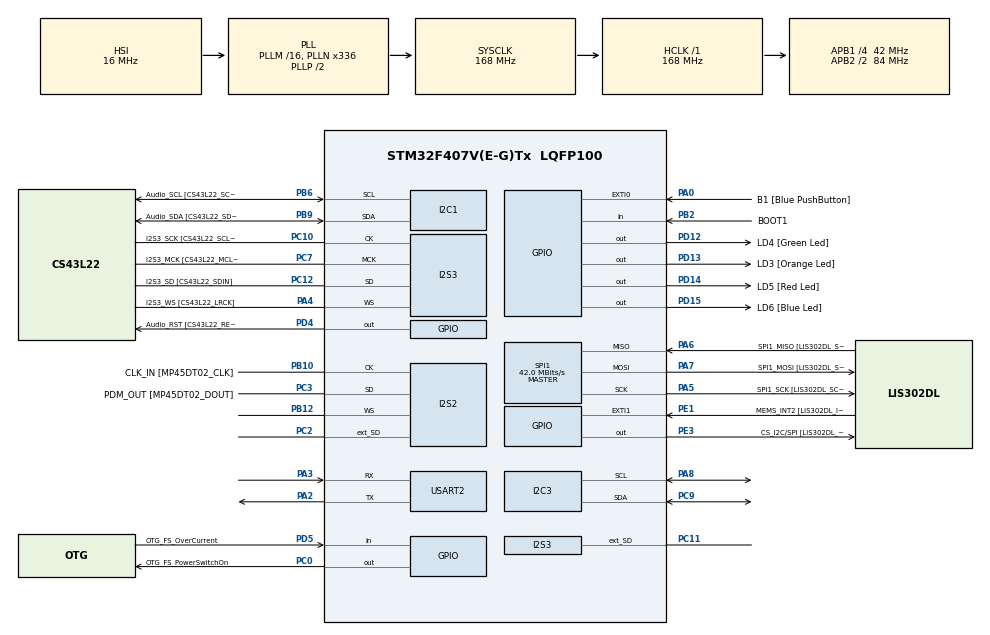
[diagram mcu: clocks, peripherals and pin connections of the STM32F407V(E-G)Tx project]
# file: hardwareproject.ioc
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Dma.Request0=SPI2_RX
Dma.Request1=SPI3_TX
Dma.SPI2_RX.0.Direction=DMA_PERIPH_TO_MEMORY
Dma.SPI2_RX.0.FIFOMode=DMA_FIFOMODE_ENABLE
Dma.SPI2_RX.0.FIFOThreshold=DMA_FIFO_THRESHOLD_FULL
Dma.SPI2_RX.0.Instance=DMA1_Stream3
Dma.SPI2_RX.0.MemBurst=DMA_MBURST_SINGLE
Dma.SPI2_RX.0.MemDataAlignment=DMA_MDATAALIGN_HALFWORD
Dma.SPI2_RX.0.MemInc=DMA_MINC_ENABLE
Dma.SPI2_RX.0.Mode=DMA_NORMAL
Dma.SPI2_RX.0.PeriphBurst=DMA_PBURST_SINGLE
Dma.SPI2_RX.0.PeriphDataAlignment=DMA_PDATAALIGN_HALFWORD
Dma.SPI2_RX.0.PeriphInc=DMA_PINC_DISABLE
Dma.SPI2_RX.0.Priority=DMA_PRIORITY_LOW
Dma.SPI3_TX.1.Direction=DMA_MEMORY_TO_PERIPH
Dma.SPI3_TX.1.FIFOMode=DMA_FIFOMODE_ENABLE
Dma.SPI3_TX.1.FIFOThreshold=DMA_FIFO_THRESHOLD_FULL
Dma.SPI3_TX.1.Instance=DMA1_Stream5
Dma.SPI3_TX.1.MemBurst=DMA_MBURST_INC8
Dma.SPI3_TX.1.MemDataAlignment=DMA_MDATAALIGN_HALFWORD
Dma.SPI3_TX.1.MemInc=DMA_MINC_ENABLE
Dma.SPI3_TX.1.Mode=DMA_NORMAL
Dma.SPI3_TX.1.PeriphBurst=DMA_PBURST_SINGLE
Dma.SPI3_TX.1.PeriphDataAlignment=DMA_PDATAALIGN_HALFWORD
Dma.SPI3_TX.1.PeriphInc=DMA_PINC_DISABLE
Dma.SPI3_TX.1.Priority=DMA_PRIORITY_LOW
I2S2.AudioFreq=I2S_AUDIOFREQ_32K
I2S2.ErrorAudioFreq=-0.01 %
I2S2.FullDuplexMode=I2S_FULLDUPLEXMODE_ENABLE
I2S2.Mode=I2S_MODE_MASTER_RX
I2S2.RealAudioFreq=31.994 KHz
I2S2.Standard=I2S_STANDARD_LSB
I2S3.AudioFreq=I2S_AUDIOFREQ_16K
I2S3.ErrorAudioFreq=-0.01 %
I2S3.FullDuplexMode=I2S_FULLDUPLEXMODE_ENABLE
I2S3.RealAudioFreq=15.997 KHz
I2S3.Standard=I2S_STANDARD_MSB
Mcu.Family=STM32F4
Mcu.Name=STM32F407V(E-G)Tx
Mcu.Package=LQFP100
NVIC.DMA1_Stream3_IRQn=true\:0\:0\:false\:false\:true
NVIC.DMA1_Stream5_IRQn=true\:0\:0\:false\:false\:true
NVIC.PriorityGroup=NVIC_PRIORITYGROUP_0
NVIC.SPI2_IRQn=true\:0\:0\:false\:false\:true
NVIC.USART2_IRQn=true\:0\:0\:false\:false\:true
PA0-WKUP.GPIO_Label=B1 [Blue PushButton]
PA0-WKUP.Signal=GPXTI0
PA10.GPIO_Label=OTG_FS_ID
PA10.GPIO_Mode=GPIO_MODE_AF_PP
PA10.GPIO_PuPd=GPIO_NOPULL
PA10.GPIO_Speed=GPIO_SPEED_FREQ_LOW
PA10.Signal=USB_OTG_FS_ID
PA11.GPIO_Label=OTG_FS_DM
PA11.GPIO_Mode=GPIO_MODE_AF_PP
PA11.GPIO_PuPd=GPIO_NOPULL
PA11.GPIO_Speed=GPIO_SPEED_FREQ_LOW
PA11.Signal=USB_OTG_FS_DM
PA12.GPIO_Label=OTG_FS_DP
PA12.GPIO_Mode=GPIO_MODE_AF_PP
PA12.GPIO_PuPd=GPIO_NOPULL
PA12.GPIO_Speed=GPIO_SPEED_FREQ_LOW
PA12.Signal=USB_OTG_FS_DP
PA13.GPIO_Label=SWDIO
PA13.Signal=SYS_JTMS-SWDIO
PA14.GPIO_Label=SWCLK
PA14.Signal=SYS_JTCK-SWCLK
PA2.Mode=Asynchronous
PA2.Signal=USART2_TX
PA3.Mode=Asynchronous
PA3.Signal=USART2_RX
PA4.GPIO_Label=I2S3_WS [CS43L22_LRCK]
PA4.GPIO_Mode=GPIO_MODE_AF_PP
PA4.GPIO_PuPd=GPIO_NOPULL
PA4.GPIO_Speed=GPIO_SPEED_FREQ_LOW
PA4.Mode=Full_Duplex_Master
PA4.Signal=I2S3_WS
PA5.GPIO_Label=SPI1_SCK [LIS302DL_SCL/SPC]
PA5.GPIO_Mode=GPIO_MODE_AF_PP
PA5.GPIO_PuPd=GPIO_NOPULL
PA5.GPIO_Speed=GPIO_SPEED_FREQ_LOW
PA5.Mode=Full_Duplex_Master
PA5.Signal=SPI1_SCK
PA6.GPIO_Label=SPI1_MISO [LIS302DL_SDO]
PA6.GPIO_Mode=GPIO_MODE_AF_PP
PA6.GPIO_PuPd=GPIO_NOPULL
PA6.GPIO_Speed=GPIO_SPEED_FREQ_LOW
PA6.Mode=Full_Duplex_Master
PA6.Signal=SPI1_MISO
PA7.GPIO_Label=SPI1_MOSI [LIS302DL_SDA/SDI/SDO]
PA7.GPIO_Mode=GPIO_MODE_AF_PP
PA7.GPIO_PuPd=GPIO_NOPULL
PA7.GPIO_Speed=GPIO_SPEED_FREQ_LOW
PA7.Mode=Full_Duplex_Master
PA7.Signal=SPI1_MOSI
PA8.Mode=I2C
PA8.Signal=I2C3_SCL
PA9.GPIO_Label=VBUS_FS
PA9.GPIO_Mode=GPIO_MODE_INPUT
PA9.GPIO_PuPd=GPIO_NOPULL
PA9.Signal=USB_OTG_FS_VBUS
PB10.GPIO_Label=CLK_IN [MP45DT02_CLK]
PB10.GPIO_Mode=GPIO_MODE_AF_PP
PB10.GPIO_PuPd=GPIO_NOPULL
PB10.GPIO_Speed=GPIO_SPEED_FREQ_LOW
PB10.Mode=Full_Duplex_Master
PB10.Signal=I2S2_CK
PB12.Mode=Full_Duplex_Master
PB12.Signal=I2S2_WS
PB2.GPIO_Label=BOOT1
PB2.GPIO_Mode=GPIO_MODE_INPUT
PB2.GPIO_PuPd=GPIO_NOPULL
PB2.Signal=GPIO_Input
PB3.GPIO_Label=SWO
PB3.Signal=SYS_JTDO-SWO
PB6.GPIO_Label=Audio_SCL [CS43L22_SCL]
PB6.GPIO_Mode=GPIO_MODE_AF_OD
PB6.GPIO_PuPd=GPIO_NOPULL
PB6.GPIO_Speed=GPIO_SPEED_FREQ_LOW
PB6.Mode=I2C
PB6.Signal=I2C1_SCL
PB9.GPIO_Label=Audio_SDA [CS43L22_SDA]
PB9.GPIO_Mode=GPIO_MODE_AF_OD
PB9.GPIO_PuPd=GPIO_NOPULL
PB9.GPIO_Speed=GPIO_SPEED_FREQ_LOW
PB9.Mode=I2C
PB9.Signal=I2C1_SDA
PC0.GPIO_Label=OTG_FS_PowerSwitchOn
PC0.GPIO_PuPd=GPIO_NOPULL
PC0.GPIO_Speed=GPIO_SPEED_FREQ_LOW
PC0.PinState=GPIO_PIN_SET
PC0.Signal=GPIO_Output
PC10.GPIO_Label=I2S3_SCK [CS43L22_SCLK]
PC10.GPIO_Mode=GPIO_MODE_AF_PP
PC10.GPIO_PuPd=GPIO_NOPULL
PC10.GPIO_Speed=GPIO_SPEED_FREQ_LOW
PC10.Mode=Full_Duplex_Master
PC10.Signal=I2S3_CK
PC11.Mode=Full_Duplex_Master
PC11.Signal=I2S3_ext_SD
PC12.GPIO_Label=I2S3_SD [CS43L22_SDIN]
PC12.GPIO_Mode=GPIO_MODE_AF_PP
PC12.GPIO_PuPd=GPIO_NOPULL
PC12.GPIO_Speed=GPIO_SPEED_FREQ_LOW
PC12.Mode=Full_Duplex_Master
PC12.Signal=I2S3_SD
PC14-OSC32_IN.GPIO_Label=PC14-OSC32_IN
PC14-OSC32_IN.Signal=RCC_OSC32_IN
PC15-OSC32_OUT.GPIO_Label=PC15-OSC32_OUT
PC15-OSC32_OUT.Signal=RCC_OSC32_OUT
PC2.Mode=Full_Duplex_Master
PC2.Signal=I2S2_ext_SD
PC3.GPIO_Label=PDM_OUT [MP45DT02_DOUT]
PC3.GPIO_Mode=GPIO_MODE_AF_PP
PC3.GPIO_PuPd=GPIO_NOPULL
PC3.GPIO_Speed=GPIO_SPEED_FREQ_LOW
PC3.Mode=Full_Duplex_Master
PC3.Signal=I2S2_SD
PC7.GPIO_Label=I2S3_MCK [CS43L22_MCLK]
PC7.GPIO_Mode=GPIO_MODE_AF_PP
PC7.GPIO_PuPd=GPIO_NOPULL
PC7.GPIO_Speed=GPIO_SPEED_FREQ_LOW
PC7.Mode=Master_Clock_Activated
PC7.Signal=I2S3_MCK
PC9.Mode=I2C
PC9.Signal=I2C3_SDA
PD12.GPIO_Label=LD4 [Green Led]
PD12.GPIO_PuPd=GPIO_NOPULL
PD12.GPIO_Speed=GPIO_SPEED_FREQ_LOW
PD12.Signal=GPIO_Output
PD13.GPIO_Label=LD3 [Orange Led]
PD13.GPIO_PuPd=GPIO_NOPULL
PD13.GPIO_Speed=GPIO_SPEED_FREQ_LOW
PD13.Signal=GPIO_Output
PD14.GPIO_Label=LD5 [Red Led]
PD14.GPIO_PuPd=GPIO_NOPULL
PD14.GPIO_Speed=GPIO_SPEED_FREQ_LOW
PD14.Signal=GPIO_Output
PD15.GPIO_Label=LD6 [Blue Led]
PD15.GPIO_PuPd=GPIO_NOPULL
PD15.GPIO_Speed=GPIO_SPEED_FREQ_LOW
PD15.Signal=GPIO_Output
PD4.GPIO_Label=Audio_RST [CS43L22_RESET]
PD4.GPIO_PuPd=GPIO_NOPULL
PD4.GPIO_Speed=GPIO_SPEED_FREQ_MEDIUM
PD4.Signal=GPIO_Output
PD5.GPIO_Label=OTG_FS_OverCurrent
PD5.GPIO_Mode=GPIO_MODE_INPUT
PD5.GPIO_PuPd=GPIO_NOPULL
PD5.Signal=GPIO_Input
PE1.GPIO_Label=MEMS_INT2 [LIS302DL_INT2]
PE1.GPIO_ModeDefaultEXTI=GPIO_MODE_EVT_RISING
PE1.GPIO_PuPd=GPIO_NOPULL
PE1.Signal=GPXTI1
PE3.GPIO_Label=CS_I2C/SPI [LIS302DL_CS_I2C/SPI]
PE3.GPIO_PuPd=GPIO_NOPULL
PE3.GPIO_Speed=GPIO_SPEED_FREQ_LOW
PE3.Signal=GPIO_Output
PH0-OSC_IN.GPIO_Label=PH0-OSC_IN
PH0-OSC_IN.Signal=RCC_OSC_IN
PH1-OSC_OUT.GPIO_Label=PH1-OSC_OUT
PH1-OSC_OUT.Signal=RCC_OSC_OUT
ProjectManager.HeapSize=0x200
ProjectManager.StackSize=0x400
ProjectManager.TargetToolchain=MDK-ARM V5
RCC.48MHZClocksFreq_Value=48000000
RCC.AHBFreq_Value=168000000
RCC.APB1CLKDivider=RCC_HCLK_DIV4
RCC.APB1Freq_Value=42000000
RCC.APB1TimFreq_Value=84000000
RCC.APB2CLKDivider=RCC_HCLK_DIV2
RCC.APB2Freq_Value=84000000
RCC.APB2TimFreq_Value=168000000
RCC.CortexFreq_Value=168000000
RCC.HCLKFreq_Value=168000000
RCC.HSE_VALUE=8000000
RCC.HSI_VALUE=16000000
RCC.LSE_VALUE=32768
RCC.PLLI2SN=258
RCC.PLLI2SR=3
RCC.PLLN=336
RCC.PLLQ=7
RCC.SYSCLKFreq_VALUE=168000000
RCC.SYSCLKSource=RCC_SYSCLKSOURCE_PLLCLK
RCC.VCOOutputFreq_Value=336000000
SPI1.CalculateBaudRate=42.0 MBits/s
SPI1.Mode=SPI_MODE_MASTER
VP_CRC_VS_CRC.Mode=CRC_Activate
board=STM32F407G-DISC1

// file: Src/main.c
/**
  ******************************************************************************
  * File Name          : main.c
  * Description        : Main program body
  ******************************************************************************
  *
  * COPYRIGHT(c) 2016 STMicroelectronics
  *
  * Redistribution and use in source and binary forms, with or without modification,
  * are permitted provided that the following conditions are met:
  *   1. Redistributions of source code must retain the above copyright notice,
  *      this list of conditions and the following disclaimer.
  *   2. Redistributions in binary form must reproduce the above copyright notice,
  *      this list of conditions and the following disclaimer in the documentation
  *      and/or other materials provided with the distribution.
  *   3. Neither the name of STMicroelectronics nor the names of its contributors
  *      may be used to endorse or promote products derived from this software
  *      without specific prior written permission.
  *
  * THIS SOFTWARE IS PROVIDED BY THE COPYRIGHT HOLDERS AND CONTRIBUTORS "AS IS"
  * AND ANY EXPRESS OR IMPLIED WARRANTIES, INCLUDING, BUT NOT LIMITED TO, THE
  * IMPLIED WARRANTIES OF MERCHANTABILITY AND FITNESS FOR A PARTICULAR PURPOSE ARE
  * DISCLAIMED. IN NO EVENT SHALL THE COPYRIGHT HOLDER OR CONTRIBUTORS BE LIABLE
  * FOR ANY DIRECT, INDIRECT, INCIDENTAL, SPECIAL, EXEMPLARY, OR CONSEQUENTIAL
  * DAMAGES (INCLUDING, BUT NOT LIMITED TO, PROCUREMENT OF SUBSTITUTE GOODS OR
  * SERVICES; LOSS OF USE, DATA, OR PROFITS; OR BUSINESS INTERRUPTION) HOWEVER
  * CAUSED AND ON ANY THEORY OF LIABILITY, WHETHER IN CONTRACT, STRICT LIABILITY,
  * OR TORT (INCLUDING NEGLIGENCE OR OTHERWISE) ARISING IN ANY WAY OUT OF THE USE
  * OF THIS SOFTWARE, EVEN IF ADVISED OF THE POSSIBILITY OF SUCH DAMAGE.
  *
  ******************************************************************************
  */
#include "main.h"
#include "stm32f4xx_hal.h"

/* USER CODE BEGIN Includes */
#include "pdm_filter.h"
#include <math.h>
#define LED_BLUE_ON   GPIOD->BSRRL = GPIO_Pin_15;
#define LED_BLUE_OFF  GPIOD->BSRRH = GPIO_Pin_15;

#define DAC_I2C_ADDR 0x94
#define FS 16000
#define PDM_BUFFER_SIZE 64 // 16000 / 1000 * 1 * 64 / 8 -> uint8_t[128] -> uint8_t[64]
#define PCM_BUFFER_SIZE 16 // 16000 / 1000 * 1
#define WR_BUFFER_SIZE 4096

#define PI 3.14159265f

/* USER CODE END Includes */

CRC_HandleTypeDef hcrc;

I2C_HandleTypeDef hi2c1;
I2C_HandleTypeDef hi2c3;

I2S_HandleTypeDef hi2s2;
I2S_HandleTypeDef hi2s3;
DMA_HandleTypeDef hdma_spi2_rx;
DMA_HandleTypeDef hdma_spi3_tx;

SPI_HandleTypeDef hspi1;

UART_HandleTypeDef huart2;

/* USER CODE BEGIN PV */
/* Private variables ---------------------------------------------------------*/
PDMFilter_InitStruct pdm_filter;
int i = 0, start, end;
uint16_t PDM_buffer[ PDM_BUFFER_SIZE ];
uint16_t PCM_buffer[ PCM_BUFFER_SIZE * 2 ];
uint16_t WR_buffer[ WR_BUFFER_SIZE ];
uint8_t str[20];
int len;
/* USER CODE END PV */

void SystemClock_Config(void);
void Error_Handler(void);
static void MX_GPIO_Init(void);
static void MX_DMA_Init(void);
static void MX_I2C1_Init(void);
static void MX_I2C3_Init(void);
static void MX_I2S2_Init(void);
static void MX_I2S3_Init(void);
static void MX_SPI1_Init(void);
static void MX_USART2_UART_Init(void);
static void MX_CRC_Init(void);

/* USER CODE BEGIN PFP */
static void MP45DT02_Init(void);
/* USER CODE END PFP */

int main(void)
{

  /* USER CODE BEGIN 1 */
	int j = 0;
  /* USER CODE END 1 */

  /* MCU Configuration----------------------------------------------------------*/

  /* Reset of all peripherals, Initializes the Flash interface and the Systick. */
  HAL_Init();

  /* Configure the system clock */
  SystemClock_Config();

  /* Initialize all configured peripherals */
  MX_GPIO_Init();
  MX_DMA_Init();
  MX_I2C1_Init();
  MX_I2C3_Init();
  MX_I2S2_Init();
  MX_I2S3_Init();
  MX_SPI1_Init();
  MX_USART2_UART_Init();
  MX_CRC_Init();

  /* USER CODE BEGIN 2 */
  MP45DT02_Init();

	HAL_I2S_Receive_DMA(&hi2s2, PDM_buffer, PDM_BUFFER_SIZE);
  /* USER CODE END 2 */

  /* Infinite loop */
  while (1)
  {

  /* USER CODE BEGIN 3 */
		if (start != end) {
			len = sprintf(str, "%d\n\r", WR_buffer[start]);
			HAL_UART_Transmit(&huart2, str, len, 10);
			start = (start+1) % WR_BUFFER_SIZE;
			HAL_Delay(10);
		}
  }
  /* USER CODE END 3 */

}

/** System Clock Configuration
*/
void SystemClock_Config(void)
{

  RCC_OscInitTypeDef RCC_OscInitStruct;
  RCC_ClkInitTypeDef RCC_ClkInitStruct;
  RCC_PeriphCLKInitTypeDef PeriphClkInitStruct;

    /**Configure the main internal regulator output voltage
    */
  __HAL_RCC_PWR_CLK_ENABLE();

  __HAL_PWR_VOLTAGESCALING_CONFIG(PWR_REGULATOR_VOLTAGE_SCALE1);

    /**Initializes the CPU, AHB and APB busses clocks
    */
  RCC_OscInitStruct.OscillatorType = RCC_OSCILLATORTYPE_HSI;
  RCC_OscInitStruct.HSIState = RCC_HSI_ON;
  RCC_OscInitStruct.HSICalibrationValue = 16;
  RCC_OscInitStruct.PLL.PLLState = RCC_PLL_ON;
  RCC_OscInitStruct.PLL.PLLSource = RCC_PLLSOURCE_HSI;
  RCC_OscInitStruct.PLL.PLLM = 16;
  RCC_OscInitStruct.PLL.PLLN = 336;
  RCC_OscInitStruct.PLL.PLLP = RCC_PLLP_DIV2;
  RCC_OscInitStruct.PLL.PLLQ = 7;
  if (HAL_RCC_OscConfig(&RCC_OscInitStruct) != HAL_OK)
  {
    Error_Handler();
  }

    /**Initializes the CPU, AHB and APB busses clocks
    */
  RCC_ClkInitStruct.ClockType = RCC_CLOCKTYPE_HCLK|RCC_CLOCKTYPE_SYSCLK
                              |RCC_CLOCKTYPE_PCLK1|RCC_CLOCKTYPE_PCLK2;
  RCC_ClkInitStruct.SYSCLKSource = RCC_SYSCLKSOURCE_PLLCLK;
  RCC_ClkInitStruct.AHBCLKDivider = RCC_SYSCLK_DIV1;
  RCC_ClkInitStruct.APB1CLKDivider = RCC_HCLK_DIV4;
  RCC_ClkInitStruct.APB2CLKDivider = RCC_HCLK_DIV2;

  if (HAL_RCC_ClockConfig(&RCC_ClkInitStruct, FLASH_LATENCY_5) != HAL_OK)
  {
    Error_Handler();
  }

  PeriphClkInitStruct.PeriphClockSelection = RCC_PERIPHCLK_I2S;
  PeriphClkInitStruct.PLLI2S.PLLI2SN = 258;
  PeriphClkInitStruct.PLLI2S.PLLI2SR = 3;
  if (HAL_RCCEx_PeriphCLKConfig(&PeriphClkInitStruct) != HAL_OK)
  {
    Error_Handler();
  }

    /**Configure the Systick interrupt time
    */
  HAL_SYSTICK_Config(HAL_RCC_GetHCLKFreq()/1000);

    /**Configure the Systick
    */
  HAL_SYSTICK_CLKSourceConfig(SYSTICK_CLKSOURCE_HCLK);

  /* SysTick_IRQn interrupt configuration */
  HAL_NVIC_SetPriority(SysTick_IRQn, 0, 0);
}

/* CRC init function */
static void MX_CRC_Init(void)
{

  hcrc.Instance = CRC;
  if (HAL_CRC_Init(&hcrc) != HAL_OK)
  {
    Error_Handler();
  }

}

/* I2C1 init function */
static void MX_I2C1_Init(void)
{

  hi2c1.Instance = I2C1;
  hi2c1.Init.ClockSpeed = 100000;
  hi2c1.Init.DutyCycle = I2C_DUTYCYCLE_2;
  hi2c1.Init.OwnAddress1 = 0;
  hi2c1.Init.AddressingMode = I2C_ADDRESSINGMODE_7BIT;
  hi2c1.Init.DualAddressMode = I2C_DUALADDRESS_DISABLE;
  hi2c1.Init.OwnAddress2 = 0;
  hi2c1.Init.GeneralCallMode = I2C_GENERALCALL_DISABLE;
  hi2c1.Init.NoStretchMode = I2C_NOSTRETCH_DISABLE;
  if (HAL_I2C_Init(&hi2c1) != HAL_OK)
  {
    Error_Handler();
  }

}

/* I2C3 init function */
static void MX_I2C3_Init(void)
{

  hi2c3.Instance = I2C3;
  hi2c3.Init.ClockSpeed = 100000;
  hi2c3.Init.DutyCycle = I2C_DUTYCYCLE_2;
  hi2c3.Init.OwnAddress1 = 0;
  hi2c3.Init.AddressingMode = I2C_ADDRESSINGMODE_7BIT;
  hi2c3.Init.DualAddressMode = I2C_DUALADDRESS_DISABLE;
  hi2c3.Init.OwnAddress2 = 0;
  hi2c3.Init.GeneralCallMode = I2C_GENERALCALL_DISABLE;
  hi2c3.Init.NoStretchMode = I2C_NOSTRETCH_DISABLE;
  if (HAL_I2C_Init(&hi2c3) != HAL_OK)
  {
    Error_Handler();
  }

}

/* I2S2 init function */
static void MX_I2S2_Init(void)
{

  hi2s2.Instance = SPI2;
  hi2s2.Init.Mode = I2S_MODE_MASTER_RX;
  hi2s2.Init.Standard = I2S_STANDARD_LSB;
  hi2s2.Init.DataFormat = I2S_DATAFORMAT_16B;
  hi2s2.Init.MCLKOutput = I2S_MCLKOUTPUT_DISABLE;
  hi2s2.Init.AudioFreq = I2S_AUDIOFREQ_32K;
  hi2s2.Init.CPOL = I2S_CPOL_LOW;
  hi2s2.Init.ClockSource = I2S_CLOCK_PLL;
  hi2s2.Init.FullDuplexMode = I2S_FULLDUPLEXMODE_ENABLE;
  if (HAL_I2S_Init(&hi2s2) != HAL_OK)
  {
    Error_Handler();
  }

}

/* I2S3 init function */
static void MX_I2S3_Init(void)
{

  hi2s3.Instance = SPI3;
  hi2s3.Init.Mode = I2S_MODE_MASTER_TX;
  hi2s3.Init.Standard = I2S_STANDARD_MSB;
  hi2s3.Init.DataFormat = I2S_DATAFORMAT_16B;
  hi2s3.Init.MCLKOutput = I2S_MCLKOUTPUT_ENABLE;
  hi2s3.Init.AudioFreq = I2S_AUDIOFREQ_16K;
  hi2s3.Init.CPOL = I2S_CPOL_LOW;
  hi2s3.Init.ClockSource = I2S_CLOCK_PLL;
  hi2s3.Init.FullDuplexMode = I2S_FULLDUPLEXMODE_ENABLE;
  if (HAL_I2S_Init(&hi2s3) != HAL_OK)
  {
    Error_Handler();
  }

}

/* SPI1 init function */
static void MX_SPI1_Init(void)
{

  hspi1.Instance = SPI1;
  hspi1.Init.Mode = SPI_MODE_MASTER;
  hspi1.Init.Direction = SPI_DIRECTION_2LINES;
  hspi1.Init.DataSize = SPI_DATASIZE_8BIT;
  hspi1.Init.CLKPolarity = SPI_POLARITY_LOW;
  hspi1.Init.CLKPhase = SPI_PHASE_1EDGE;
  hspi1.Init.NSS = SPI_NSS_SOFT;
  hspi1.Init.BaudRatePrescaler = SPI_BAUDRATEPRESCALER_2;
  hspi1.Init.FirstBit = SPI_FIRSTBIT_MSB;
  hspi1.Init.TIMode = SPI_TIMODE_DISABLE;
  hspi1.Init.CRCCalculation = SPI_CRCCALCULATION_DISABLE;
  hspi1.Init.CRCPolynomial = 10;
  if (HAL_SPI_Init(&hspi1) != HAL_OK)
  {
    Error_Handler();
  }

}

/* USART2 init function */
static void MX_USART2_UART_Init(void)
{

  huart2.Instance = USART2;
  huart2.Init.BaudRate = 115200;
  huart2.Init.WordLength = UART_WORDLENGTH_8B;
  huart2.Init.StopBits = UART_STOPBITS_1;
  huart2.Init.Parity = UART_PARITY_NONE;
  huart2.Init.Mode = UART_MODE_TX_RX;
  huart2.Init.HwFlowCtl = UART_HWCONTROL_NONE;
  huart2.Init.OverSampling = UART_OVERSAMPLING_16;
  if (HAL_UART_Init(&huart2) != HAL_OK)
  {
    Error_Handler();
  }

}

static void MX_DMA_Init(void)
{
  /* DMA controller clock enable */
  __HAL_RCC_DMA1_CLK_ENABLE();

  /* DMA interrupt init */
  /* DMA1_Stream3_IRQn interrupt configuration */
  HAL_NVIC_SetPriority(DMA1_Stream3_IRQn, 0, 0);
  HAL_NVIC_EnableIRQ(DMA1_Stream3_IRQn);
  /* DMA1_Stream5_IRQn interrupt configuration */
  HAL_NVIC_SetPriority(DMA1_Stream5_IRQn, 0, 0);
  HAL_NVIC_EnableIRQ(DMA1_Stream5_IRQn);

}

/** Configure pins as
        * Analog
        * Input
        * Output
        * EVENT_OUT
        * EXTI
     PA9   ------> USB_OTG_FS_VBUS
     PA10   ------> USB_OTG_FS_ID
     PA11   ------> USB_OTG_FS_DM
     PA12   ------> USB_OTG_FS_DP
*/
static void MX_GPIO_Init(void)
{

  GPIO_InitTypeDef GPIO_InitStruct;

  /* GPIO Ports Clock Enable */
  __HAL_RCC_GPIOE_CLK_ENABLE();
  __HAL_RCC_GPIOC_CLK_ENABLE();
  __HAL_RCC_GPIOH_CLK_ENABLE();
  __HAL_RCC_GPIOA_CLK_ENABLE();
  __HAL_RCC_GPIOB_CLK_ENABLE();
  __HAL_RCC_GPIOD_CLK_ENABLE();

  /*Configure GPIO pin Output Level */
  HAL_GPIO_WritePin(CS_I2C_SPI_GPIO_Port, CS_I2C_SPI_Pin, GPIO_PIN_RESET);

  /*Configure GPIO pin Output Level */
  HAL_GPIO_WritePin(OTG_FS_PowerSwitchOn_GPIO_Port, OTG_FS_PowerSwitchOn_Pin, GPIO_PIN_SET);

  /*Configure GPIO pin Output Level */
  HAL_GPIO_WritePin(GPIOD, LD4_Pin|LD3_Pin|LD5_Pin|LD6_Pin
                          |Audio_RST_Pin, GPIO_PIN_RESET);

  /*Configure GPIO pin : CS_I2C_SPI_Pin */
  GPIO_InitStruct.Pin = CS_I2C_SPI_Pin;
  GPIO_InitStruct.Mode = GPIO_MODE_OUTPUT_PP;
  GPIO_InitStruct.Pull = GPIO_NOPULL;
  GPIO_InitStruct.Speed = GPIO_SPEED_FREQ_LOW;
  HAL_GPIO_Init(CS_I2C_SPI_GPIO_Port, &GPIO_InitStruct);

  /*Configure GPIO pin : OTG_FS_PowerSwitchOn_Pin */
  GPIO_InitStruct.Pin = OTG_FS_PowerSwitchOn_Pin;
  GPIO_InitStruct.Mode = GPIO_MODE_OUTPUT_PP;
  GPIO_InitStruct.Pull = GPIO_NOPULL;
  GPIO_InitStruct.Speed = GPIO_SPEED_FREQ_LOW;
  HAL_GPIO_Init(OTG_FS_PowerSwitchOn_GPIO_Port, &GPIO_InitStruct);

  /*Configure GPIO pin : B1_Pin */
  GPIO_InitStruct.Pin = B1_Pin;
  GPIO_InitStruct.Mode = GPIO_MODE_IT_RISING;
  GPIO_InitStruct.Pull = GPIO_NOPULL;
  HAL_GPIO_Init(B1_GPIO_Port, &GPIO_InitStruct);

  /*Configure GPIO pin : BOOT1_Pin */
  GPIO_InitStruct.Pin = BOOT1_Pin;
  GPIO_InitStruct.Mode = GPIO_MODE_INPUT;
  GPIO_InitStruct.Pull = GPIO_NOPULL;
  HAL_GPIO_Init(BOOT1_GPIO_Port, &GPIO_InitStruct);

  /*Configure GPIO pins : LD4_Pin LD3_Pin LD5_Pin LD6_Pin */
  GPIO_InitStruct.Pin = LD4_Pin|LD3_Pin|LD5_Pin|LD6_Pin;
  GPIO_InitStruct.Mode = GPIO_MODE_OUTPUT_PP;
  GPIO_InitStruct.Pull = GPIO_NOPULL;
  GPIO_InitStruct.Speed = GPIO_SPEED_FREQ_LOW;
  HAL_GPIO_Init(GPIOD, &GPIO_InitStruct);

  /*Configure GPIO pin : VBUS_FS_Pin */
  GPIO_InitStruct.Pin = VBUS_FS_Pin;
  GPIO_InitStruct.Mode = GPIO_MODE_INPUT;
  GPIO_InitStruct.Pull = GPIO_NOPULL;
  HAL_GPIO_Init(VBUS_FS_GPIO_Port, &GPIO_InitStruct);

  /*Configure GPIO pins : OTG_FS_ID_Pin OTG_FS_DM_Pin OTG_FS_DP_Pin */
  GPIO_InitStruct.Pin = OTG_FS_ID_Pin|OTG_FS_DM_Pin|OTG_FS_DP_Pin;
  GPIO_InitStruct.Mode = GPIO_MODE_AF_PP;
  GPIO_InitStruct.Pull = GPIO_NOPULL;
  GPIO_InitStruct.Speed = GPIO_SPEED_FREQ_LOW;
  GPIO_InitStruct.Alternate = GPIO_AF10_OTG_FS;
  HAL_GPIO_Init(GPIOA, &GPIO_InitStruct);

  /*Configure GPIO pin : Audio_RST_Pin */
  GPIO_InitStruct.Pin = Audio_RST_Pin;
  GPIO_InitStruct.Mode = GPIO_MODE_OUTPUT_PP;
  GPIO_InitStruct.Pull = GPIO_NOPULL;
  GPIO_InitStruct.Speed = GPIO_SPEED_FREQ_MEDIUM;
  HAL_GPIO_Init(Audio_RST_GPIO_Port, &GPIO_InitStruct);

  /*Configure GPIO pin : OTG_FS_OverCurrent_Pin */
  GPIO_InitStruct.Pin = OTG_FS_OverCurrent_Pin;
  GPIO_InitStruct.Mode = GPIO_MODE_INPUT;
  GPIO_InitStruct.Pull = GPIO_NOPULL;
  HAL_GPIO_Init(OTG_FS_OverCurrent_GPIO_Port, &GPIO_InitStruct);

  /*Configure GPIO pin : MEMS_INT2_Pin */
  GPIO_InitStruct.Pin = MEMS_INT2_Pin;
  GPIO_InitStruct.Mode = GPIO_MODE_EVT_RISING;
  GPIO_InitStruct.Pull = GPIO_NOPULL;
  HAL_GPIO_Init(MEMS_INT2_GPIO_Port, &GPIO_InitStruct);

}

/* USER CODE BEGIN 4 */
static void MP45DT02_Init(void) {
  pdm_filter.LP_HZ = 8000;
  pdm_filter.HP_HZ = 0;
  pdm_filter.Fs = 16000;
  pdm_filter.Out_MicChannels = 1;
  pdm_filter.In_MicChannels = 1;

  PDM_Filter_Init((PDMFilter_InitStruct*)&pdm_filter);
}

void HAL_I2S_RxCpltCallback(I2S_HandleTypeDef *hi2s)
{
	if (hi2s->Instance == hi2s2.Instance) {
		int c;
		PDM_Filter_64_LSB((uint8_t*) PDM_buffer, PCM_buffer, 1, &pdm_filter);

		for (c = 0; c < PCM_BUFFER_SIZE; c++) {
			WR_buffer[end] = PCM_buffer[ c ];
			end = ( end + 1 ) % WR_BUFFER_SIZE;
		}

		HAL_I2S_Receive_DMA(hi2s, PDM_buffer, PDM_BUFFER_SIZE);
	}
}
/* USER CODE END 4 */

void Error_Handler(void)
{
  while(1)
  {
  }
}

/************************ (C) COPYRIGHT STMicroelectronics *****END OF FILE****/
